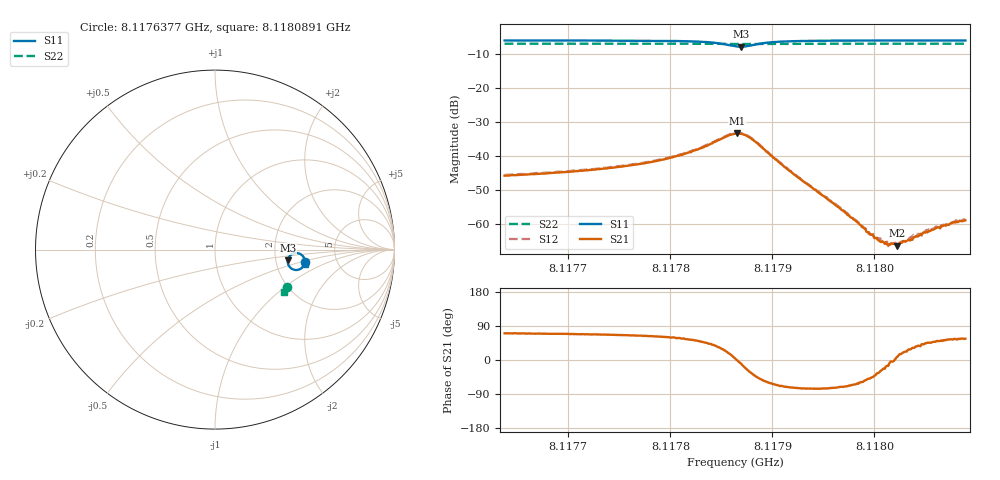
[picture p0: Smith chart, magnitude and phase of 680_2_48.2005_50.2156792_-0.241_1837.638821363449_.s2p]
#  HZ  S  RI  R  50.00
! Rohde & Schwarz Vector Network Analyzer
! Rohde-Schwarz,ZNB20-2Port,1311601062101988,3.16
! Created: UTC 3/20/2024, 12:06:36 PM
! freq[Hz]  re:S11  im:S11  re:S21  im:S21  re:S12  im:S12  re:S22  im:S22
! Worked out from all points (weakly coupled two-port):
!   401 points, 8.1176377 GHz to 8.1180891 GHz, reference 50 ohm
!   highest |S21| = -33.33 dB at 8.1178656 GHz (marker M1); lowest = -66.4 dB at 8.1180225 GHz (marker M2)
!   lowest |S11| = -7.7 dB at 8.117869 GHz (marker M3), VSWR 2.39, Z = 117 - j16.7 ohm
!   |S11| at or under -10 dB: nowhere
!   |S22| runs from -7.0 to -6.9 dB; largest |S21 - S12| = 0.00073
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8.11763765e9  0.5023 -0.0667  0.00172 0.00484  0.00178 0.00497  0.4012 -0.2102
8.11771326e9  0.4997 -0.0765  0.00224 0.00563  0.00236 0.00574  0.3985 -0.2153
8.11774825e9  0.4976 -0.0825  0.00281 0.00631  0.00291 0.00641  0.3976 -0.2175
8.11778887e9  0.4922 -0.0924  0.00408 0.00761  0.00419 0.00779  0.3959 -0.2204
8.11782273e9  0.4788 -0.1058  0.00733 0.00962  0.00744 0.00965  0.3942 -0.2227
8.11784869e9  0.443 -0.1127  0.0149 0.00935  0.0155 0.0095  0.3915 -0.2241
8.11786336e9  0.4082 -0.0833  0.0212 0.00166  0.0219 0.00149  0.3899 -0.2233
8.11786561e9  0.4057 -0.0743  0.0215 -0.000421  0.0219 -0.000544  0.39 -0.2229
8.117869e9  0.4055 -0.0595  0.021 -0.00328  0.0215 -0.00379  0.3901 -0.2226
8.11788028e9  0.4318 -0.0236  0.0142 -0.0104  0.0144 -0.0109  0.3913 -0.222
8.11790285e9  0.4808 -0.0283  0.00377 -0.00813  0.00387 -0.00844  0.3927 -0.224
8.11793897e9  0.4976 -0.051  0.00084 -0.00331  0.000861 -0.0034  0.3921 -0.2274
8.11796605e9  0.5001 -0.0606  0.000552 -0.00161  0.000561 -0.00166  0.3913 -0.2295
8.11798298e9  0.5005 -0.065  0.000499 -0.00094  0.00048 -0.000975  0.3906 -0.2305
8.11799539e9  0.5007 -0.0676  0.00046 -0.000527  0.000528 -0.000493  0.3902 -0.2314
8.11800555e9  0.5007 -0.0695  0.000475 -0.000275  0.000553 -0.000273  0.39 -0.2322
8.11800894e9  0.5008 -0.0702  0.000498 -0.000206  0.000478 -0.000213  0.3898 -0.2324
8.11801458e9  0.5006 -0.0712  0.000481 -7.42e-05  0.000529 -0.000107  0.3896 -0.2329
8.11802248e9  0.5008 -0.0724  0.000474 7.35e-05  0.000545 6.97e-05  0.3892 -0.2333
8.11806085e9  0.5004 -0.078  0.000563 0.000674  0.000593 0.000697  0.388 -0.2358
8.11807665e9  0.5002 -0.08  0.000623 0.000849  0.000597 0.000849  0.3875 -0.2368
8.11808906e9  0.4999 -0.0813  0.000629 0.000937  0.000621 0.00101  0.3871 -0.2375
